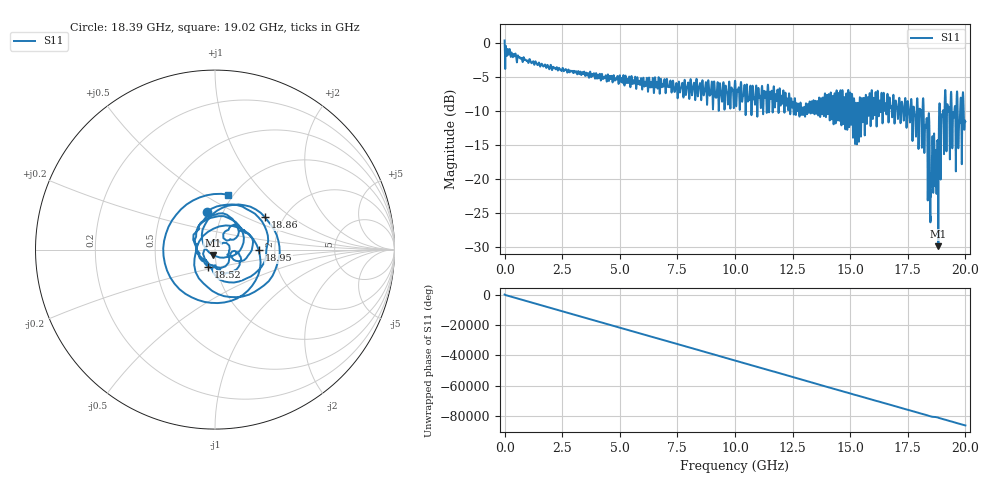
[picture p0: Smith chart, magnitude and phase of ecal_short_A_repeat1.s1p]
! MS46122B
! 2250307/22442219
! 7/22/2025 7:51:10 AM
! C:\USERS\SPARKY\DOCUMENTS\VNA_DATA\JULY22_2025\3K\ECAL_SHORT_A_REPEAT1.S1P
! CHANNEL.1
! TR.MEASUREMENT
! RAW.DATA
# GHZ S RI R 50.0
! FREQ.GHZ  S11RE  S11IM
!; PortSelection: Port_1
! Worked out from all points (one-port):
!   10001 points, 1 MHz to 20 GHz, reference 50 ohm
!   lowest |S11| = -29.9 dB at 18.82 GHz (marker M1), VSWR 1.07, Z = 48.7 - j2.87 ohm
!   |S11| at or under -10 dB: 18.19 GHz to 18.86 GHz (669.3 MHz wide, 3.61 % of centre); 18.9 GHz to 19.03 GHz (129.5 MHz wide, 0.683 % of centre); 19.41 GHz to 19.52 GHz (114.4 MHz wide, 0.587 % of centre) (the widest 3 of 81)
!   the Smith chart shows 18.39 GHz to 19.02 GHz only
!   S11 on the Smith chart (normalised r, x): 18.39 GHz: 0.84, +0.37; 18.52 GHz: 0.91, -0.17; 18.86 GHz: 1.60, +0.65; 18.95 GHz: 1.65, -0.02; 19.02 GHz: 0.95, +0.65
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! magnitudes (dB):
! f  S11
! 1 MHz  0.4
! 2.501 GHz  -3.8
! 5.001 GHz  -4.7
! 7.501 GHz  -7.8
! 10 GHz  -5.5
! 12.5 GHz  -8.8
! 15 GHz  -7.3
! 15.29 GHz  -14.9
! 16.02 GHz  -8.1
! 17.5 GHz  -8.5
! 18.04 GHz  -10.0
! 18.1 GHz  -12.8
! 18.29 GHz  -12.2
! 18.35 GHz  -13.7
! 18.39 GHz  -13.4
! 18.52 GHz  -19.8
! 18.63 GHz  -15.1
! 18.75 GHz  -22.2
! 18.82 GHz  -29.9
! 18.86 GHz  -9.6
! 18.95 GHz  -12.2
! 19.02 GHz  -10.0
! 19.2 GHz  -11.5
! 19.25 GHz  -10.1
! 19.46 GHz  -10.9
! 19.51 GHz  -10.8
! 19.57 GHz  -11.5
! 20 GHz  -11.6
